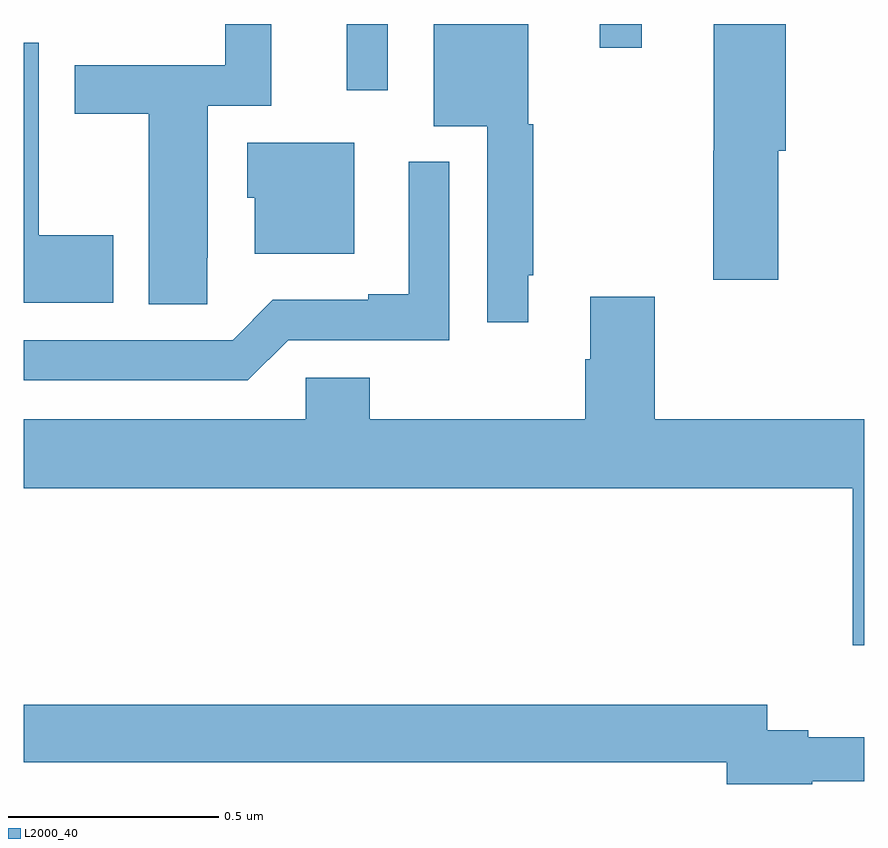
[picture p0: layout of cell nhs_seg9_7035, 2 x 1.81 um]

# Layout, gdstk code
import gdstk
lib = gdstk.Library(unit=1e-6, precision=1e-09)
def R(c, l, rs):  # rectangles x0, y0, x1, y1
    for r in rs: c.add(gdstk.rectangle(r[:2], r[2:], *l))
def P(c, l, *ps):  # polygons
    for p in ps: c.add(gdstk.Polygon(p, *l))
L2000_40 = (2000, 40)

nhs_seg9_7035 = lib.new_cell('nhs_seg9_7035')
R(nhs_seg9_7035, L2000_40, [(199.769,1221.342,199.866,1221.5), (200.371,1221.444,200.47,1221.5)])
P(nhs_seg9_7035, L2000_40, [(200.795,1221.198),(200.813,1221.198),(200.813,1221.5),(200.642,1221.5),(200.642,1221.198),(200.641,1221.198),(200.641,1220.892),(200.795,1220.892)],
  [(200.2,1220.902),(200.212,1220.902),(200.212,1221.261),(200.2,1221.261),(200.2,1221.5),(199.976,1221.5),(199.976,1221.257),(200.103,1221.257),(200.103,1220.79),(200.2,1220.79)],
  [(199.437,1220.944),(199.438,1220.944),(199.438,1221.306),(199.589,1221.306),(199.589,1221.499),(199.48,1221.499),(199.48,1221.402),(199.121,1221.402),(199.121,1221.286),(199.298,1221.286),(199.298,1220.833),(199.437,1220.833)],
  [(199.213,1220.997),(199.036,1220.997),(199.036,1221.455),(199,1221.455),(199,1220.837),(199.213,1220.837)],
  [(199.786,1221.217),(199.532,1221.217),(199.532,1221.087),(199.55,1221.087),(199.55,1220.954),(199.786,1220.954)],
  [(199.629,1220.748),(200.013,1220.748),(200.013,1221.172),(199.916,1221.172),(199.916,1220.857),(199.82,1220.857),(199.82,1220.844),(199.593,1220.844),(199.497,1220.748),(199,1220.748),(199,1220.652),(199.533,1220.652)],
  [(201,1220.56),(200.501,1220.56),(200.501,1220.851),(200.348,1220.851),(200.348,1220.702),(200.336,1220.702),(200.336,1220.56),(199.823,1220.56),(199.823,1220.658),(199.671,1220.658),(199.671,1220.56),(199,1220.56),(199,1220.396),(200.972,1220.396),(200.972,1220.022),(201,1220.022)],
  [(200.876,1219.699),(201,1219.699),(201,1219.803),(200.866,1219.803),(200.866,1219.82),(200.769,1219.82),(200.769,1219.88),(199,1219.88),(199,1219.744),(200.673,1219.744),(200.673,1219.692),(200.876,1219.692)])

lib.write_gds('nhs_seg9_7035.gds')
